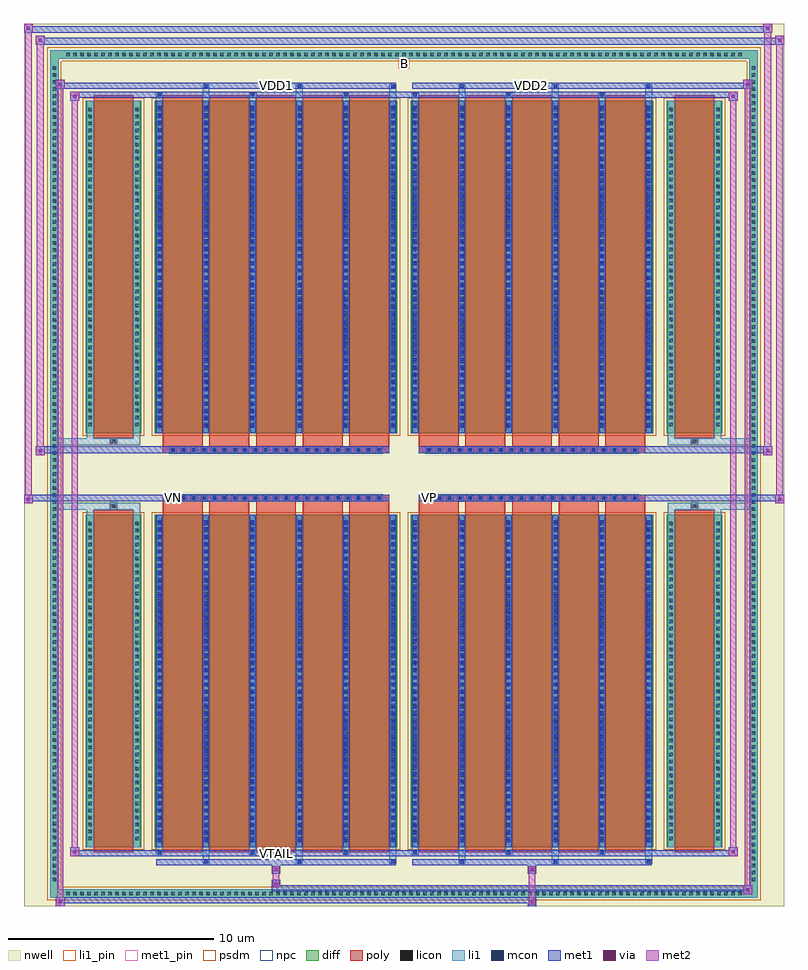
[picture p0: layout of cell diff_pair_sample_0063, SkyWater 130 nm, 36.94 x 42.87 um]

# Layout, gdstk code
import gdstk
lib = gdstk.Library(unit=1e-6, precision=5e-09)
def R(c, l, rs):  # rectangles x0, y0, x1, y1
    for r in rs: c.add(gdstk.rectangle(r[:2], r[2:], *l))
def A(c, l, x, y, w, h, nx, ny, dx, dy):  # array of equal rectangles
    R(c, l, [(x+i*dx, y+j*dy, x+i*dx+w, y+j*dy+h) for i in range(nx) for j in range(ny)])
def P(c, l, *ps):  # polygons
    for p in ps: c.add(gdstk.Polygon(p, *l))
nwell = (64, 20)
diff = (65, 20)
poly = (66, 20)
licon = (66, 44)
li1_pin = (67, 16)
li1 = (67, 20)
mcon = (67, 44)
met1_pin = (68, 16)
met1 = (68, 20)
via = (68, 44)
met2 = (69, 20)
psdm = (94, 20)
npc = (95, 20)

diff_pair_sample_0063 = lib.new_cell('diff_pair_sample_0063')
R(diff_pair_sample_0063, nwell, [(-18.47,-21,18.47,21.87), (-15.79,-19.19,-0.01,-0.805), (0.01,-19.19,15.79,-0.805), (-15.79,0.805,-0.01,19.19), (0.01,0.805,15.79,19.19)])
A(diff_pair_sample_0063, diff, -16.525, -20.6, 0.41, 0.41, 97, 2, 0.34, 40.79)
A(diff_pair_sample_0063, diff, -17.2, -19.925, 0.41, 0.41, 1, 117, 0, 0.34)
A(diff_pair_sample_0063, diff, 16.79, -19.925, 0.41, 0.41, 1, 117, 0, 0.34)
R(diff_pair_sample_0063, diff, [(-16.525,-20.6,16.525,-20.19), (-17.2,-19.925,-16.79,19.925), (16.79,-19.925,17.2,19.925), (-15.48,-18.145,-12.76,-1.985), (-12.12,-18.145,-0.32,-1.985), (0.32,-18.145,12.12,-1.985), (12.76,-18.145,15.48,-1.985), (-15.48,1.985,-12.76,18.145), (-12.12,1.985,-0.32,18.145), (0.32,1.985,12.12,18.145), (12.76,1.985,15.48,18.145), (-16.525,20.19,16.525,20.6)])
P(diff_pair_sample_0063, diff, [(17.2,20.6),(-17.2,20.6),(-17.2,-20.19),(-16.79,-20.19),(-16.79,20.19),(16.79,20.19),(16.79,-20.19),(-16.79,-20.19),(-17.2,-20.19),(-17.2,-20.6),(17.2,-20.6)])
A(diff_pair_sample_0063, poly, -11.73, -18.395, 1.94, 16.66, 5, 2, 2.27, 20.13)
A(diff_pair_sample_0063, poly, 0.71, -18.395, 1.94, 16.66, 5, 2, 2.27, 20.13)
A(diff_pair_sample_0063, poly, -11.73, -1.735, 1.94, 0.4, 5, 2, 2.27, 3.07)
A(diff_pair_sample_0063, poly, 0.71, -1.735, 1.94, 0.4, 5, 2, 2.27, 3.07)
A(diff_pair_sample_0063, poly, -11.385, -1.335, 0.33, 0.33, 21, 2, 0.5, 2.34)
A(diff_pair_sample_0063, poly, 1.055, -1.335, 0.33, 0.33, 21, 2, 0.5, 2.34)
R(diff_pair_sample_0063, poly, [(-15.09,-18.395,-13.15,-1.735), (13.15,-18.395,15.09,-1.735), (-14.285,-1.735,-13.955,-1.405), (-14.285,-1.735,-13.955,-1.405), (13.955,-1.735,14.285,-1.405), (13.955,-1.735,14.285,-1.405), (-11.73,-1.335,-0.71,-1.005), (0.71,-1.335,11.73,-1.005), (-11.73,1.005,-0.71,1.335), (0.71,1.005,11.73,1.335), (-14.285,1.405,-13.955,1.735), (-14.285,1.405,-13.955,1.735), (13.955,1.405,14.285,1.735), (13.955,1.405,14.285,1.735), (-15.09,1.735,-13.15,18.395), (13.15,1.735,15.09,18.395)])
A(diff_pair_sample_0063, licon, -16.405, -20.48, 0.17, 0.17, 97, 2, 0.34, 40.79)
A(diff_pair_sample_0063, licon, -17.08, -19.805, 0.17, 0.17, 1, 117, 0, 0.34)
A(diff_pair_sample_0063, licon, 16.91, -19.805, 0.17, 0.17, 1, 117, 0, 0.34)
A(diff_pair_sample_0063, licon, -15.34, -17.8, 0.17, 0.17, 1, 46, 0, 0.34)
A(diff_pair_sample_0063, licon, -13.07, -17.8, 0.17, 0.17, 1, 46, 0, 0.34)
A(diff_pair_sample_0063, licon, -11.98, -17.8, 0.17, 0.17, 6, 46, 2.27, 0.34)
A(diff_pair_sample_0063, licon, 0.46, -17.8, 0.17, 0.17, 6, 46, 2.27, 0.34)
A(diff_pair_sample_0063, licon, 12.9, -17.8, 0.17, 0.17, 1, 46, 0, 0.34)
A(diff_pair_sample_0063, licon, 15.17, -17.8, 0.17, 0.17, 1, 46, 0, 0.34)
A(diff_pair_sample_0063, licon, -11.305, -1.255, 0.17, 0.17, 21, 2, 0.5, 2.34)
A(diff_pair_sample_0063, licon, 1.135, -1.255, 0.17, 0.17, 21, 2, 0.5, 2.34)
A(diff_pair_sample_0063, licon, -15.34, 2.33, 0.17, 0.17, 1, 46, 0, 0.34)
A(diff_pair_sample_0063, licon, -13.07, 2.33, 0.17, 0.17, 1, 46, 0, 0.34)
A(diff_pair_sample_0063, licon, -11.98, 2.33, 0.17, 0.17, 6, 46, 2.27, 0.34)
A(diff_pair_sample_0063, licon, 0.46, 2.33, 0.17, 0.17, 6, 46, 2.27, 0.34)
A(diff_pair_sample_0063, licon, 12.9, 2.33, 0.17, 0.17, 1, 46, 0, 0.34)
A(diff_pair_sample_0063, licon, 15.17, 2.33, 0.17, 0.17, 1, 46, 0, 0.34)
R(diff_pair_sample_0063, licon, [(-14.205,-1.655,-14.035,-1.485), (14.035,-1.655,14.205,-1.485), (-14.205,1.485,-14.035,1.655), (14.035,1.485,14.205,1.655)])
R(diff_pair_sample_0063, li1_pin, [(-0.25,19.69,0.25,20.19)])
A(diff_pair_sample_0063, li1, -16.485, -20.56, 0.33, 0.33, 97, 2, 0.34, 40.79)
A(diff_pair_sample_0063, li1, -17.16, -19.885, 0.33, 0.33, 1, 117, 0, 0.34)
A(diff_pair_sample_0063, li1, 16.83, -19.885, 0.33, 0.33, 1, 117, 0, 0.34)
A(diff_pair_sample_0063, li1, -9.79, -18.95, 0.33, 0.805, 3, 2, 4.54, 37.095)
A(diff_pair_sample_0063, li1, -9.71, -18.95, 0.17, 0.17, 3, 2, 4.54, 37.73)
A(diff_pair_sample_0063, li1, 2.65, -18.95, 0.33, 0.805, 3, 2, 4.54, 37.095)
A(diff_pair_sample_0063, li1, 2.73, -18.95, 0.17, 0.17, 3, 2, 4.54, 37.73)
A(diff_pair_sample_0063, li1, -12.06, -18.52, 0.33, 0.375, 3, 2, 4.54, 36.665)
A(diff_pair_sample_0063, li1, -11.98, -18.52, 0.17, 0.17, 3, 2, 4.54, 36.87)
A(diff_pair_sample_0063, li1, 0.38, -18.52, 0.33, 0.375, 3, 2, 4.54, 36.665)
A(diff_pair_sample_0063, li1, 0.46, -18.52, 0.17, 0.17, 3, 2, 4.54, 36.87)
A(diff_pair_sample_0063, li1, -12.06, -18.145, 0.33, 16.16, 6, 2, 2.27, 20.13)
A(diff_pair_sample_0063, li1, 0.38, -18.145, 0.33, 16.16, 6, 2, 2.27, 20.13)
A(diff_pair_sample_0063, li1, -11.98, -17.89, 0.17, 0.17, 6, 44, 2.27, 0.36)
A(diff_pair_sample_0063, li1, -11.98, -17.89, 0.17, 15.65, 6, 2, 2.27, 20.13)
A(diff_pair_sample_0063, li1, 0.46, -17.89, 0.17, 0.17, 6, 44, 2.27, 0.36)
A(diff_pair_sample_0063, li1, 0.46, -17.89, 0.17, 15.65, 6, 2, 2.27, 20.13)
A(diff_pair_sample_0063, li1, -15.42, -17.88, 0.33, 0.33, 1, 46, 0, 0.34)
A(diff_pair_sample_0063, li1, -13.15, -17.88, 0.33, 0.33, 1, 46, 0, 0.34)
A(diff_pair_sample_0063, li1, -12.06, -17.88, 0.33, 0.33, 6, 46, 2.27, 0.34)
A(diff_pair_sample_0063, li1, 0.38, -17.88, 0.33, 0.33, 6, 46, 2.27, 0.34)
A(diff_pair_sample_0063, li1, 12.82, -17.88, 0.33, 0.33, 1, 46, 0, 0.34)
A(diff_pair_sample_0063, li1, 15.09, -17.88, 0.33, 0.33, 1, 46, 0, 0.34)
A(diff_pair_sample_0063, li1, -11.385, -1.335, 0.33, 0.33, 21, 2, 0.5, 2.34)
A(diff_pair_sample_0063, li1, 1.055, -1.335, 0.33, 0.33, 21, 2, 0.5, 2.34)
A(diff_pair_sample_0063, li1, -11.98, 2.24, 0.17, 0.17, 6, 44, 2.27, 0.36)
A(diff_pair_sample_0063, li1, 0.46, 2.24, 0.17, 0.17, 6, 44, 2.27, 0.36)
A(diff_pair_sample_0063, li1, -15.42, 2.25, 0.33, 0.33, 1, 46, 0, 0.34)
A(diff_pair_sample_0063, li1, -13.15, 2.25, 0.33, 0.33, 1, 46, 0, 0.34)
A(diff_pair_sample_0063, li1, -12.06, 2.25, 0.33, 0.33, 6, 46, 2.27, 0.34)
A(diff_pair_sample_0063, li1, 0.38, 2.25, 0.33, 0.33, 6, 46, 2.27, 0.34)
A(diff_pair_sample_0063, li1, 12.82, 2.25, 0.33, 0.33, 1, 46, 0, 0.34)
A(diff_pair_sample_0063, li1, 15.09, 2.25, 0.33, 0.33, 1, 46, 0, 0.34)
R(diff_pair_sample_0063, li1, [(-17.2,-20.6,-16.79,-20.19), (-17.2,-20.6,-16.79,-20.19), (-16.79,-20.6,16.79,-20.19), (16.79,-20.6,17.2,-20.19), (16.79,-20.6,17.2,-20.19), (-17.2,-20.19,-16.79,20.19), (16.79,-20.19,17.2,20.19), (-15.42,-18.145,-15.09,-1.985), (-13.15,-18.145,-12.82,-1.985), (12.82,-18.145,13.15,-1.985), (15.09,-18.145,15.42,-1.985), (-15.42,-1.985,-15.09,-1.405), (-13.15,-1.985,-12.82,-1.405), (12.82,-1.985,13.15,-1.405), (15.09,-1.985,15.42,-1.405), (-17.2,-1.735,-14.285,-1.405), (-15.42,-1.735,-14.285,-1.405), (-14.285,-1.735,-13.955,-1.405), (-13.955,-1.735,-12.82,-1.405), (12.82,-1.735,13.955,-1.405), (13.955,-1.735,14.285,-1.405), (13.955,-1.735,17.2,-1.405), (14.285,-1.735,15.42,-1.405), (-17.2,1.405,-14.285,1.735), (-15.42,1.405,-14.285,1.735), (-15.42,1.405,-15.09,1.985), (-14.285,1.405,-13.955,1.735), (-13.955,1.405,-12.82,1.735), (-13.15,1.405,-12.82,1.985), (12.82,1.405,13.955,1.735), (12.82,1.405,13.15,1.985), (13.955,1.405,14.285,1.735), (13.955,1.405,17.2,1.735), (14.285,1.405,15.42,1.735), (15.09,1.405,15.42,1.985), (-15.42,1.985,-15.09,18.145), (-13.15,1.985,-12.82,18.145), (12.82,1.985,13.15,18.145), (15.09,1.985,15.42,18.145), (-17.2,20.19,-16.79,20.6), (-17.2,20.19,-16.79,20.6), (-16.79,20.19,16.79,20.6), (16.79,20.19,17.2,20.6), (16.79,20.19,17.2,20.6)])
A(diff_pair_sample_0063, mcon, -9.71, -18.95, 0.17, 0.17, 3, 2, 4.54, 37.73)
A(diff_pair_sample_0063, mcon, 2.73, -18.95, 0.17, 0.17, 3, 2, 4.54, 37.73)
A(diff_pair_sample_0063, mcon, -11.98, -18.52, 0.17, 0.17, 3, 2, 4.54, 36.87)
A(diff_pair_sample_0063, mcon, 0.46, -18.52, 0.17, 0.17, 3, 2, 4.54, 36.87)
A(diff_pair_sample_0063, mcon, -11.98, -17.89, 0.17, 0.17, 6, 44, 2.27, 0.36)
A(diff_pair_sample_0063, mcon, 0.46, -17.89, 0.17, 0.17, 6, 44, 2.27, 0.36)
A(diff_pair_sample_0063, mcon, -11.305, -1.255, 0.17, 0.17, 21, 2, 0.5, 2.34)
A(diff_pair_sample_0063, mcon, 1.135, -1.255, 0.17, 0.17, 21, 2, 0.5, 2.34)
A(diff_pair_sample_0063, mcon, -11.98, 2.24, 0.17, 0.17, 6, 44, 2.27, 0.36)
A(diff_pair_sample_0063, mcon, 0.46, 2.24, 0.17, 0.17, 6, 44, 2.27, 0.36)
R(diff_pair_sample_0063, met1_pin, [(-6.355,-18.56,-6.085,-18.29), (-11.355,-1.295,-11.085,-1.025), (1.085,-1.295,1.355,-1.025), (-6.355,18.74,-6.085,19.01), (6.085,18.74,6.355,19.01)])
A(diff_pair_sample_0063, met1, -9.77, -19.01, 0.29, 0.29, 3, 2, 4.54, 37.73)
A(diff_pair_sample_0063, met1, 2.67, -19.01, 0.29, 0.29, 3, 2, 4.54, 37.73)
A(diff_pair_sample_0063, met1, -12.04, -18.58, 0.29, 0.29, 3, 2, 4.54, 36.87)
A(diff_pair_sample_0063, met1, 0.4, -18.58, 0.29, 0.29, 3, 2, 4.54, 36.87)
A(diff_pair_sample_0063, met1, -12.04, -18.145, 0.29, 16.16, 6, 2, 2.27, 20.13)
A(diff_pair_sample_0063, met1, 0.4, -18.145, 0.29, 16.16, 6, 2, 2.27, 20.13)
A(diff_pair_sample_0063, met1, -12.04, -17.95, 0.29, 0.29, 6, 44, 2.27, 0.36)
A(diff_pair_sample_0063, met1, 0.4, -17.95, 0.29, 0.29, 6, 44, 2.27, 0.36)
A(diff_pair_sample_0063, met1, -11.365, -1.315, 0.29, 0.29, 21, 2, 0.5, 2.34)
A(diff_pair_sample_0063, met1, 1.075, -1.315, 0.29, 0.29, 21, 2, 0.5, 2.34)
A(diff_pair_sample_0063, met1, -12.04, 2.18, 0.29, 0.29, 6, 44, 2.27, 0.36)
A(diff_pair_sample_0063, met1, 0.4, 2.18, 0.29, 0.29, 6, 44, 2.27, 0.36)
R(diff_pair_sample_0063, met1, [(-16.93,-21,-16.5,-20.57), (6.005,-21,6.435,-20.57), (-16.93,-20.86,6.435,-20.57), (16.5,-20.43,16.93,-20), (-6.435,-20.29,16.93,-20), (-6.435,-20.15,-6.005,-19.72), (-6.435,-19.44,-6.005,-19.01), (6.005,-19.44,6.435,-19.01), (-12.04,-19.01,-0.4,-18.72), (0.4,-19.01,12.04,-18.72), (-16.22,-18.58,-15.79,-18.15), (-16.22,-18.58,-12.04,-18.29), (-12.04,-18.58,-0.4,-18.29), (-0.4,-18.58,0.4,-18.29), (0.4,-18.58,12.04,-18.29), (12.04,-18.58,16.22,-18.29), (15.79,-18.58,16.22,-18.15), (-18.47,-1.435,-18.04,-1.005), (18.04,-1.435,18.47,-1.005), (-18.47,-1.335,-0.71,-1.005), (-11.73,-1.335,-0.71,-1.005), (0.71,-1.335,11.73,-1.005), (0.71,-1.335,18.47,-1.005), (-17.9,0.905,-17.47,1.335), (17.47,0.905,17.9,1.335), (-17.9,1.005,-11.73,1.335), (-11.73,1.005,-0.71,1.335), (0.71,1.005,11.73,1.335), (11.73,1.005,17.9,1.335), (-16.22,18.15,-15.79,18.58), (15.79,18.15,16.22,18.58), (-16.22,18.29,-12.04,18.58), (-12.04,18.29,-0.4,18.58), (-0.4,18.29,0.4,18.58), (0.4,18.29,12.04,18.58), (12.04,18.29,16.22,18.58), (-16.93,18.72,-16.5,19.15), (-16.93,18.72,-12.04,19.01), (-12.04,18.72,-0.4,19.01), (0.4,18.72,12.04,19.01), (12.04,18.72,16.93,19.01), (16.5,18.72,16.93,19.15), (-17.9,20.87,-17.47,21.3), (-17.9,20.87,-15.79,21.2), (-15.79,20.87,15.79,21.2), (15.79,20.87,18.47,21.2), (18.04,20.87,18.47,21.3), (-18.47,21.44,-18.04,21.87), (-18.47,21.44,-15.79,21.77), (-15.79,21.44,15.79,21.77), (15.79,21.44,17.9,21.77), (17.47,21.44,17.9,21.87)])
R(diff_pair_sample_0063, via, [(-16.79,-20.86,-16.64,-20.71), (6.145,-20.86,6.295,-20.71), (16.64,-20.29,16.79,-20.14), (-6.295,-20.01,-6.145,-19.86), (-6.295,-19.3,-6.145,-19.15), (6.145,-19.3,6.295,-19.15), (-16.08,-18.44,-15.93,-18.29), (15.93,-18.44,16.08,-18.29), (-18.33,-1.295,-18.18,-1.145), (18.18,-1.295,18.33,-1.145), (-17.76,1.045,-17.61,1.195), (17.61,1.045,17.76,1.195), (-16.08,18.29,-15.93,18.44), (15.93,18.29,16.08,18.44), (-16.79,18.86,-16.64,19.01), (16.64,18.86,16.79,19.01), (-17.76,21.01,-17.61,21.16), (18.18,21.01,18.33,21.16), (-18.33,21.58,-18.18,21.73), (17.61,21.58,17.76,21.73)])
R(diff_pair_sample_0063, met2, [(-16.93,-21,-16.5,-20.57), (-16.86,-21,-16.57,19.15), (-16.57,-21,-16.5,-20.57), (-16.88,-20.95,-16.55,-20.62), (6.055,-20.95,6.385,-20.62), (6.055,-20.62,6.385,-19.39), (16.5,-20.43,16.93,-20), (16.57,-20.43,16.86,19.15), (16.86,-20.43,16.93,-20), (16.55,-20.38,16.88,-20.05), (-6.385,-20.1,-6.055,-19.77), (-6.385,-19.77,-6.055,-19.39), (-6.385,-19.39,-6.055,-19.06), (6.055,-19.39,6.385,-19.06), (-16.22,-18.58,-15.79,-18.15), (-16.15,-18.58,-15.86,18.58), (-15.86,-18.58,-15.79,-18.15), (15.79,-18.58,16.22,-18.15), (15.86,-18.58,16.15,18.58), (16.15,-18.58,16.22,-18.15), (-16.17,-18.53,-15.84,-18.2), (15.84,-18.53,16.17,-18.2), (-18.47,-1.435,-18.04,-1.005), (-18.42,-1.435,-18.09,21.87), (-18.09,-1.435,-18.04,-1.005), (18.04,-1.435,18.47,-1.005), (18.09,-1.435,18.42,21.3), (18.42,-1.435,18.47,-1.005), (-18.42,-1.385,-18.09,-1.055), (18.09,-1.385,18.42,-1.055), (-17.9,0.905,-17.47,1.335), (-17.85,0.905,-17.52,21.3), (-17.52,0.905,-17.47,1.335), (17.47,0.905,17.9,1.335), (17.52,0.905,17.85,21.87), (17.85,0.905,17.9,1.335), (-17.85,0.955,-17.52,1.285), (17.52,0.955,17.85,1.285), (-16.22,18.15,-15.79,18.58), (-15.86,18.15,-15.79,18.58), (15.79,18.15,16.22,18.58), (16.15,18.15,16.22,18.58), (-16.17,18.2,-15.84,18.53), (15.84,18.2,16.17,18.53), (-16.93,18.72,-16.5,19.15), (-16.57,18.72,-16.5,19.15), (16.5,18.72,16.93,19.15), (16.86,18.72,16.93,19.15), (-16.88,18.77,-16.55,19.1), (16.55,18.77,16.88,19.1), (-17.9,20.87,-17.47,21.3), (-17.52,20.87,-17.47,21.3), (18.04,20.87,18.47,21.3), (18.42,20.87,18.47,21.3), (-17.85,20.92,-17.52,21.25), (18.09,20.92,18.42,21.25), (-18.47,21.44,-18.04,21.87), (-18.09,21.44,-18.04,21.87), (17.47,21.44,17.9,21.87), (17.85,21.44,17.9,21.87), (-18.42,21.49,-18.09,21.82), (17.52,21.49,17.85,21.82)])
R(diff_pair_sample_0063, psdm, [(-15.61,-18.275,-12.63,-1.855), (-12.25,-18.275,-0.19,-1.855), (0.19,-18.275,12.25,-1.855), (12.63,-18.275,15.61,-1.855), (-15.61,1.855,-12.63,18.275), (-12.25,1.855,-0.19,18.275), (0.19,1.855,12.25,18.275), (12.63,1.855,15.61,18.275)])
P(diff_pair_sample_0063, psdm, [(17.33,20.73),(-17.33,20.73),(-17.33,-20.06),(-16.66,-20.06),(-16.66,20.06),(16.66,20.06),(16.66,-20.06),(-16.66,-20.06),(-17.33,-20.06),(-17.33,-20.73),(17.33,-20.73)])
A(diff_pair_sample_0063, npc, -11.405, -1.355, 0.37, 0.37, 21, 2, 0.5, 2.34)
A(diff_pair_sample_0063, npc, 1.035, -1.355, 0.37, 0.37, 21, 2, 0.5, 2.34)
R(diff_pair_sample_0063, npc, [(-14.305,-1.755,-13.935,-1.385), (13.935,-1.755,14.305,-1.385), (-11.405,-1.355,-10.535,-0.985), (-11.405,-1.355,-10.535,-0.985), (-10.905,-1.355,-10.035,-0.985), (-10.905,-1.355,-10.035,-0.985), (-10.405,-1.355,-9.535,-0.985), (-10.405,-1.355,-9.535,-0.985), (-9.905,-1.355,-9.035,-0.985), (-9.905,-1.355,-9.035,-0.985), (-9.405,-1.355,-8.535,-0.985), (-9.405,-1.355,-8.535,-0.985), (-8.905,-1.355,-8.035,-0.985), (-8.905,-1.355,-8.035,-0.985), (-8.405,-1.355,-7.535,-0.985), (-8.405,-1.355,-7.535,-0.985), (-7.905,-1.355,-7.035,-0.985), (-7.905,-1.355,-7.035,-0.985), (-7.405,-1.355,-6.535,-0.985), (-7.405,-1.355,-6.535,-0.985), (-6.905,-1.355,-6.035,-0.985), (-6.905,-1.355,-6.035,-0.985), (-6.405,-1.355,-5.535,-0.985), (-6.405,-1.355,-5.535,-0.985), (-5.905,-1.355,-5.035,-0.985), (-5.905,-1.355,-5.035,-0.985), (-5.405,-1.355,-4.535,-0.985), (-5.405,-1.355,-4.535,-0.985), (-4.905,-1.355,-4.035,-0.985), (-4.905,-1.355,-4.035,-0.985), (-4.405,-1.355,-3.535,-0.985), (-4.405,-1.355,-3.535,-0.985), (-3.905,-1.355,-3.035,-0.985), (-3.905,-1.355,-3.035,-0.985), (-3.405,-1.355,-2.535,-0.985), (-3.405,-1.355,-2.535,-0.985), (-2.905,-1.355,-2.035,-0.985), (-2.905,-1.355,-2.035,-0.985), (-2.405,-1.355,-1.535,-0.985), (-2.405,-1.355,-1.535,-0.985), (-1.905,-1.355,-1.035,-0.985), (-1.905,-1.355,-1.035,-0.985), (1.035,-1.355,1.905,-0.985), (1.035,-1.355,1.905,-0.985), (1.535,-1.355,2.405,-0.985), (1.535,-1.355,2.405,-0.985), (2.035,-1.355,2.905,-0.985), (2.035,-1.355,2.905,-0.985), (2.535,-1.355,3.405,-0.985), (2.535,-1.355,3.405,-0.985), (3.035,-1.355,3.905,-0.985), (3.035,-1.355,3.905,-0.985), (3.535,-1.355,4.405,-0.985), (3.535,-1.355,4.405,-0.985), (4.035,-1.355,4.905,-0.985), (4.035,-1.355,4.905,-0.985), (4.535,-1.355,5.405,-0.985), (4.535,-1.355,5.405,-0.985), (5.035,-1.355,5.905,-0.985), (5.035,-1.355,5.905,-0.985), (5.535,-1.355,6.405,-0.985), (5.535,-1.355,6.405,-0.985), (6.035,-1.355,6.905,-0.985), (6.035,-1.355,6.905,-0.985), (6.535,-1.355,7.405,-0.985), (6.535,-1.355,7.405,-0.985), (7.035,-1.355,7.905,-0.985), (7.035,-1.355,7.905,-0.985), (7.535,-1.355,8.405,-0.985), (7.535,-1.355,8.405,-0.985), (8.035,-1.355,8.905,-0.985), (8.035,-1.355,8.905,-0.985), (8.535,-1.355,9.405,-0.985), (8.535,-1.355,9.405,-0.985), (9.035,-1.355,9.905,-0.985), (9.035,-1.355,9.905,-0.985), (9.535,-1.355,10.405,-0.985), (9.535,-1.355,10.405,-0.985), (10.035,-1.355,10.905,-0.985), (10.035,-1.355,10.905,-0.985), (10.535,-1.355,11.405,-0.985), (10.535,-1.355,11.405,-0.985), (-11.405,0.985,-10.535,1.355), (-11.405,0.985,-10.535,1.355), (-10.905,0.985,-10.035,1.355), (-10.905,0.985,-10.035,1.355), (-10.405,0.985,-9.535,1.355), (-10.405,0.985,-9.535,1.355), (-9.905,0.985,-9.035,1.355), (-9.905,0.985,-9.035,1.355), (-9.405,0.985,-8.535,1.355), (-9.405,0.985,-8.535,1.355), (-8.905,0.985,-8.035,1.355), (-8.905,0.985,-8.035,1.355), (-8.405,0.985,-7.535,1.355), (-8.405,0.985,-7.535,1.355), (-7.905,0.985,-7.035,1.355), (-7.905,0.985,-7.035,1.355), (-7.405,0.985,-6.535,1.355), (-7.405,0.985,-6.535,1.355), (-6.905,0.985,-6.035,1.355), (-6.905,0.985,-6.035,1.355), (-6.405,0.985,-5.535,1.355), (-6.405,0.985,-5.535,1.355), (-5.905,0.985,-5.035,1.355), (-5.905,0.985,-5.035,1.355), (-5.405,0.985,-4.535,1.355), (-5.405,0.985,-4.535,1.355), (-4.905,0.985,-4.035,1.355), (-4.905,0.985,-4.035,1.355), (-4.405,0.985,-3.535,1.355), (-4.405,0.985,-3.535,1.355), (-3.905,0.985,-3.035,1.355), (-3.905,0.985,-3.035,1.355), (-3.405,0.985,-2.535,1.355), (-3.405,0.985,-2.535,1.355), (-2.905,0.985,-2.035,1.355), (-2.905,0.985,-2.035,1.355), (-2.405,0.985,-1.535,1.355), (-2.405,0.985,-1.535,1.355), (-1.905,0.985,-1.035,1.355), (-1.905,0.985,-1.035,1.355), (1.035,0.985,1.905,1.355), (1.035,0.985,1.905,1.355), (1.535,0.985,2.405,1.355), (1.535,0.985,2.405,1.355), (2.035,0.985,2.905,1.355), (2.035,0.985,2.905,1.355), (2.535,0.985,3.405,1.355), (2.535,0.985,3.405,1.355), (3.035,0.985,3.905,1.355), (3.035,0.985,3.905,1.355), (3.535,0.985,4.405,1.355), (3.535,0.985,4.405,1.355), (4.035,0.985,4.905,1.355), (4.035,0.985,4.905,1.355), (4.535,0.985,5.405,1.355), (4.535,0.985,5.405,1.355), (5.035,0.985,5.905,1.355), (5.035,0.985,5.905,1.355), (5.535,0.985,6.405,1.355), (5.535,0.985,6.405,1.355), (6.035,0.985,6.905,1.355), (6.035,0.985,6.905,1.355), (6.535,0.985,7.405,1.355), (6.535,0.985,7.405,1.355), (7.035,0.985,7.905,1.355), (7.035,0.985,7.905,1.355), (7.535,0.985,8.405,1.355), (7.535,0.985,8.405,1.355), (8.035,0.985,8.905,1.355), (8.035,0.985,8.905,1.355), (8.535,0.985,9.405,1.355), (8.535,0.985,9.405,1.355), (9.035,0.985,9.905,1.355), (9.035,0.985,9.905,1.355), (9.535,0.985,10.405,1.355), (9.535,0.985,10.405,1.355), (10.035,0.985,10.905,1.355), (10.035,0.985,10.905,1.355), (10.535,0.985,11.405,1.355), (10.535,0.985,11.405,1.355), (-14.305,1.385,-13.935,1.755), (13.935,1.385,14.305,1.755)])
diff_pair_sample_0063.add(gdstk.Label('VTAIL', (-6.22,-18.425), layer=68, texttype=5))
diff_pair_sample_0063.add(gdstk.Label('VN', (-11.22,-1.16), layer=68, texttype=5))
diff_pair_sample_0063.add(gdstk.Label('VP', (1.22,-1.16), layer=68, texttype=5))
diff_pair_sample_0063.add(gdstk.Label('B', (0,19.94), layer=67, texttype=5))
diff_pair_sample_0063.add(gdstk.Label('VDD2', (6.22,18.875), layer=68, texttype=5))
diff_pair_sample_0063.add(gdstk.Label('VDD1', (-6.22,18.875), layer=68, texttype=5))

lib.write_gds('diff_pair_sample_0063.gds')
